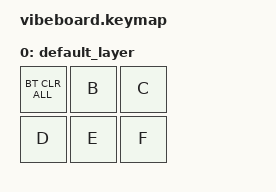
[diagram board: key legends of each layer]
#include <behaviors.dtsi>
#include <dt-bindings/zmk/keys.h>
#include <dt-bindings/zmk/bt.h>

/ {
    keymap {
        compatible = "zmk,keymap";

        default_layer {
            bindings = <
                &bt BT_CLR_ALL   &kp B   &kp C
                &kp D   &kp E   &kp F
            >;
        };
    };
};
